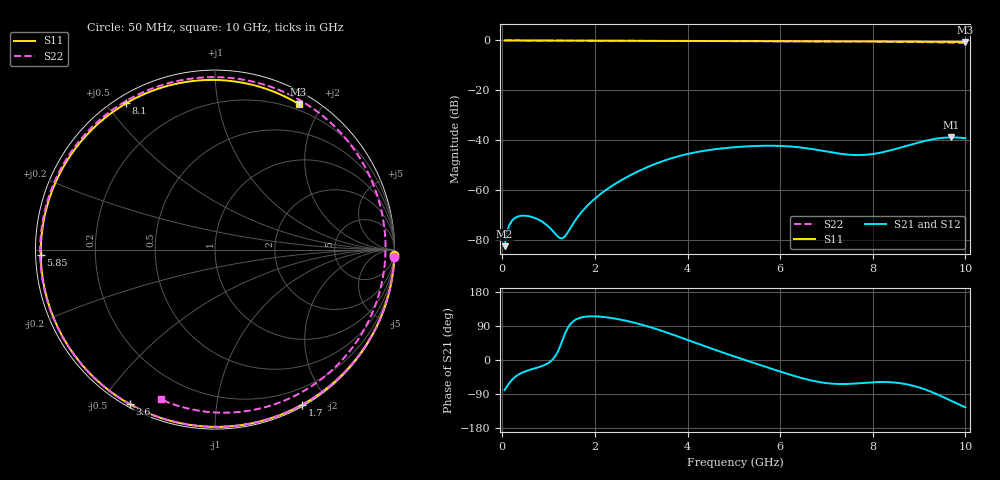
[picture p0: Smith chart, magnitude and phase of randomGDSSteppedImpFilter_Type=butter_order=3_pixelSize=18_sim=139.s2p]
! freq	dB(S11)	phase(S11)	dB(S12)	phase(S12)
!  dB(S21)	phase(S21)	dB(S22)	phase(S22)
!S-par simulation data
#  GHz  S  DB  R 50
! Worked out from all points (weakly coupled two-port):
!   200 points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, 50 MHz to 10 GHz, reference 50 ohm
!   highest |S21| = -38.86 dB at 9.7 GHz (marker M1); lowest = -82.5 dB at 50 MHz (marker M2)
!   lowest |S11| = -0.6 dB at 10 GHz (marker M3), VSWR 30.11, Z = 6.58 + j85.9 ohm
!   |S11| at or under -10 dB: nowhere
!   |S22| runs from -1.0 to 0.0 dB; largest |S21 - S12| = 0
!   S11 on the Smith chart (normalised r, x): 50 MHz: 0, -62; 1.7 GHz: 0.02, -1.71; 3.6 GHz: 0.01, -0.59; 5.85 GHz: 0.01, -0.02; 8.1 GHz: 0.03, +0.56; 10 GHz: 0.13, +1.72
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0.05  -0.00 -1.9  -82.45 -79.4  -82.45 -79.4  -0.00 -2.4
0.2  -0.00 -7.4  -72.47 -53.6  -72.47 -53.6  -0.00 -9.5
0.45  -0.01 -16.6  -70.22 -32.3  -70.22 -32.3  -0.02 -21.3
0.8  -0.03 -29.4  -71.99 -18.4  -71.99 -18.4  -0.04 -37.7
1.3  -0.06 -47.0  -79.28 52.7  -79.28 52.7  -0.08 -60.5
1.7  -0.07 -60.7  -69.05 112.1  -69.05 112.1  -0.10 -78.2
1.75  -0.08 -62.4  -67.96 113.5  -67.96 113.5  -0.10 -80.4
2.1  -0.09 -73.9  -61.85 114.5  -61.85 114.5  -0.12 -95.6
2.55  -0.10 -88.1  -56.22 106.7  -56.22 106.7  -0.14 -114.6
3.4  -0.14 -113.3  -48.80 78.7  -48.80 78.7  -0.18 -150.0
3.6  -0.14 -118.9  -47.53 70.4  -47.53 70.4  -0.19 -158.4
4.35  -0.17 -139.4  -44.24 37.4  -44.24 37.4  -0.24 169.7
5.05  -0.21 -157.7  -42.74 7.7  -42.74 7.7  -0.29 138.3
5.85  -0.25 -178.2  -42.20 -24.6  -42.20 -24.6  -0.34 99.5
6.25  -0.28 171.5  -42.54 -40.1  -42.54 -40.1  -0.36 79.0
6.7  -0.31 159.8  -43.56 -54.6  -43.56 -54.6  -0.38 55.4
7.4  -0.36 141.0  -45.64 -63.3  -45.64 -63.3  -0.42 18.3
8.1  -0.41 121.3  -45.21 -58.2  -45.21 -58.2  -0.48 -17.8
8.35  -0.43 114.0  -44.20 -58.4  -44.20 -58.4  -0.52 -30.2
9.05  -0.48 92.5  -40.61 -74.4  -40.61 -74.4  -0.66 -64.1
9.7  -0.54 70.9  -38.86 -108.2  -38.86 -108.2  -0.89 -95.2
10  -0.58 60.2  -39.19 -124.8  -39.19 -124.8  -1.04 -110.0
